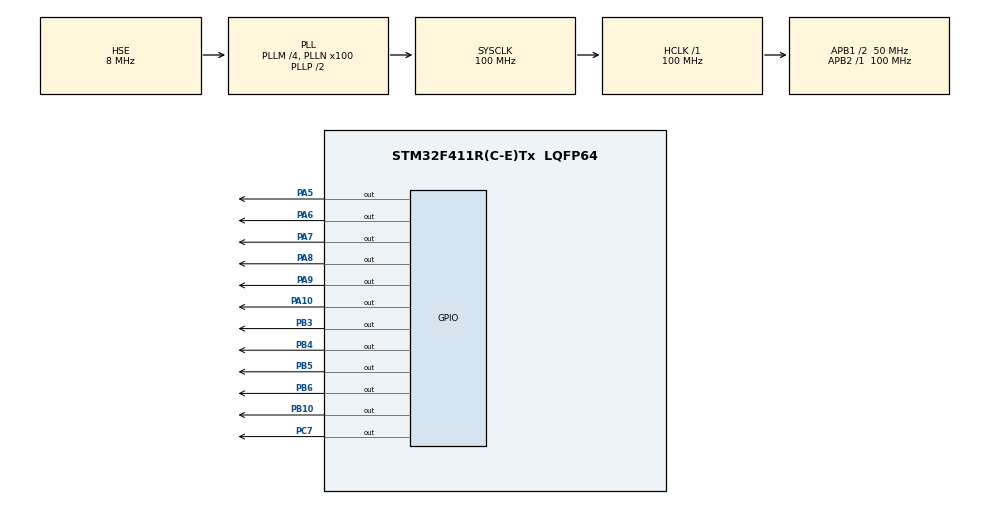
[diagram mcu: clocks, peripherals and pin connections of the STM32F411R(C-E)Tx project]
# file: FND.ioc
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Mcu.Family=STM32F4
Mcu.Name=STM32F411R(C-E)Tx
Mcu.Package=LQFP64
NVIC.PriorityGroup=NVIC_PRIORITYGROUP_4
PA10.Signal=GPIO_Output
PA5.Signal=GPIO_Output
PA6.Signal=GPIO_Output
PA7.Signal=GPIO_Output
PA8.Signal=GPIO_Output
PA9.Signal=GPIO_Output
PB10.Signal=GPIO_Output
PB3.Signal=GPIO_Output
PB4.Signal=GPIO_Output
PB5.Signal=GPIO_Output
PB6.Signal=GPIO_Output
PC7.Signal=GPIO_Output
PH0\ -\ OSC_IN.Mode=HSE-External-Oscillator
PH0\ -\ OSC_IN.Signal=RCC_OSC_IN
PH1\ -\ OSC_OUT.Mode=HSE-External-Oscillator
PH1\ -\ OSC_OUT.Signal=RCC_OSC_OUT
ProjectManager.HeapSize=0x200
ProjectManager.StackSize=0x400
ProjectManager.TargetToolchain=STM32CubeIDE
RCC.48MHZClocksFreq_Value=50000000
RCC.AHBFreq_Value=100000000
RCC.APB1CLKDivider=RCC_HCLK_DIV2
RCC.APB1Freq_Value=50000000
RCC.APB1TimFreq_Value=100000000
RCC.APB2Freq_Value=100000000
RCC.APB2TimFreq_Value=100000000
RCC.CortexFreq_Value=100000000
RCC.HCLKFreq_Value=100000000
RCC.HSE_VALUE=8000000
RCC.HSI_VALUE=16000000
RCC.LSE_VALUE=32768
RCC.PLLM=4
RCC.PLLN=100
RCC.PLLSourceVirtual=RCC_PLLSOURCE_HSE
RCC.SYSCLKFreq_VALUE=100000000
RCC.SYSCLKSource=RCC_SYSCLKSOURCE_PLLCLK
RCC.VCOOutputFreq_Value=200000000
board=custom

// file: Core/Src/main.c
/* USER CODE BEGIN Header */
/**
 ******************************************************************************
 * @file           : main.c
 * @brief          : Main program body
 ******************************************************************************
 * @attention
 *
 * Copyright (c) 2026 STMicroelectronics.
 * All rights reserved.
 *
 * This software is licensed under terms that can be found in the LICENSE file
 * in the root directory of this software component.
 * If no LICENSE file comes with this software, it is provided AS-IS.
 *
 ******************************************************************************
 */
/* USER CODE END Header */
#include "main.h"

/* USER CODE BEGIN PD */

#define A_GPIO	GPIOA
#define A_PIN	GPIO_PIN_6
#define B_GPIO	GPIOA
#define B_PIN	GPIO_PIN_9
#define C_GPIO	GPIOB
#define C_PIN	GPIO_PIN_5
#define D_GPIO	GPIOB
#define D_PIN	GPIO_PIN_10
#define E_GPIO	GPIOA
#define E_PIN	GPIO_PIN_8
#define F_GPIO	GPIOA
#define F_PIN	GPIO_PIN_7
#define G_GPIO	GPIOB
#define G_PIN	GPIO_PIN_3
#define DP_GPIO	GPIOB
#define DP_PIN	GPIO_PIN_4

#define D1_GPIO	GPIOA
#define D1_PIN	GPIO_PIN_5
#define D2_GPIO	GPIOB
#define D2_PIN	GPIO_PIN_6
#define D3_GPIO	GPIOC
#define D3_PIN	GPIO_PIN_7
#define D4_GPIO	GPIOA
#define D4_PIN	GPIO_PIN_10

/* USER CODE END PD */

void SystemClock_Config(void);
static void MX_GPIO_Init(void);

/* USER CODE BEGIN 0 */

void on_0() {
	HAL_GPIO_WritePin(A_GPIO, A_PIN, GPIO_PIN_SET); // A
	HAL_GPIO_WritePin(B_GPIO, B_PIN, GPIO_PIN_SET); // B
	HAL_GPIO_WritePin(C_GPIO, C_PIN, GPIO_PIN_SET); // C
	HAL_GPIO_WritePin(D_GPIO, D_PIN, GPIO_PIN_SET); // D
	HAL_GPIO_WritePin(E_GPIO, E_PIN, GPIO_PIN_SET); // E
	HAL_GPIO_WritePin(F_GPIO, F_PIN, GPIO_PIN_SET); // F
	HAL_GPIO_WritePin(G_GPIO, G_PIN, GPIO_PIN_RESET); // G
	HAL_GPIO_WritePin(DP_GPIO, DP_PIN, GPIO_PIN_RESET); // DP
}

void on_1() {
	HAL_GPIO_WritePin(A_GPIO, A_PIN, GPIO_PIN_RESET); // A
	HAL_GPIO_WritePin(B_GPIO, B_PIN, GPIO_PIN_SET); // B
	HAL_GPIO_WritePin(C_GPIO, C_PIN, GPIO_PIN_SET); // C
	HAL_GPIO_WritePin(D_GPIO, D_PIN, GPIO_PIN_RESET); // D
	HAL_GPIO_WritePin(E_GPIO, E_PIN, GPIO_PIN_RESET); // E
	HAL_GPIO_WritePin(F_GPIO, F_PIN, GPIO_PIN_RESET); // F
	HAL_GPIO_WritePin(G_GPIO, G_PIN, GPIO_PIN_RESET); // G
	HAL_GPIO_WritePin(DP_GPIO, DP_PIN, GPIO_PIN_RESET); // DP
}

void on_2() {
	HAL_GPIO_WritePin(A_GPIO, A_PIN, GPIO_PIN_SET); // A
	HAL_GPIO_WritePin(B_GPIO, B_PIN, GPIO_PIN_SET); // B
	HAL_GPIO_WritePin(C_GPIO, C_PIN, GPIO_PIN_RESET); // C
	HAL_GPIO_WritePin(D_GPIO, D_PIN, GPIO_PIN_SET); // D
	HAL_GPIO_WritePin(E_GPIO, E_PIN, GPIO_PIN_SET); // E
	HAL_GPIO_WritePin(F_GPIO, F_PIN, GPIO_PIN_RESET); // F
	HAL_GPIO_WritePin(G_GPIO, G_PIN, GPIO_PIN_SET); // G
	HAL_GPIO_WritePin(DP_GPIO, DP_PIN, GPIO_PIN_RESET); // DP
}

void on_3() {
	HAL_GPIO_WritePin(A_GPIO, A_PIN, GPIO_PIN_SET); // A
	HAL_GPIO_WritePin(B_GPIO, B_PIN, GPIO_PIN_SET); // B
	HAL_GPIO_WritePin(C_GPIO, C_PIN, GPIO_PIN_SET); // C
	HAL_GPIO_WritePin(D_GPIO, D_PIN, GPIO_PIN_SET); // D
	HAL_GPIO_WritePin(E_GPIO, E_PIN, GPIO_PIN_RESET); // E
	HAL_GPIO_WritePin(F_GPIO, F_PIN, GPIO_PIN_RESET); // F
	HAL_GPIO_WritePin(G_GPIO, G_PIN, GPIO_PIN_SET); // G
	HAL_GPIO_WritePin(DP_GPIO, DP_PIN, GPIO_PIN_RESET); // DP
}

void on_4() {
	HAL_GPIO_WritePin(A_GPIO, A_PIN, GPIO_PIN_RESET); // A
	HAL_GPIO_WritePin(B_GPIO, B_PIN, GPIO_PIN_SET); // B
	HAL_GPIO_WritePin(C_GPIO, C_PIN, GPIO_PIN_SET); // C
	HAL_GPIO_WritePin(D_GPIO, D_PIN, GPIO_PIN_RESET); // D
	HAL_GPIO_WritePin(E_GPIO, E_PIN, GPIO_PIN_RESET); // E
	HAL_GPIO_WritePin(F_GPIO, F_PIN, GPIO_PIN_SET); // F
	HAL_GPIO_WritePin(G_GPIO, G_PIN, GPIO_PIN_SET); // G
	HAL_GPIO_WritePin(DP_GPIO, DP_PIN, GPIO_PIN_RESET); // DP
}

void on_5() {
	HAL_GPIO_WritePin(A_GPIO, A_PIN, GPIO_PIN_SET); // A
	HAL_GPIO_WritePin(B_GPIO, B_PIN, GPIO_PIN_RESET); // B
	HAL_GPIO_WritePin(C_GPIO, C_PIN, GPIO_PIN_SET); // C
	HAL_GPIO_WritePin(D_GPIO, D_PIN, GPIO_PIN_SET); // D
	HAL_GPIO_WritePin(E_GPIO, E_PIN, GPIO_PIN_RESET); // E
	HAL_GPIO_WritePin(F_GPIO, F_PIN, GPIO_PIN_SET); // F
	HAL_GPIO_WritePin(G_GPIO, G_PIN, GPIO_PIN_SET); // G
	HAL_GPIO_WritePin(DP_GPIO, DP_PIN, GPIO_PIN_RESET); // DP
}

void on_6() {
	HAL_GPIO_WritePin(A_GPIO, A_PIN, GPIO_PIN_SET); // A
	HAL_GPIO_WritePin(B_GPIO, B_PIN, GPIO_PIN_RESET); // B
	HAL_GPIO_WritePin(C_GPIO, C_PIN, GPIO_PIN_SET); // C
	HAL_GPIO_WritePin(D_GPIO, D_PIN, GPIO_PIN_SET); // D
	HAL_GPIO_WritePin(E_GPIO, E_PIN, GPIO_PIN_SET); // E
	HAL_GPIO_WritePin(F_GPIO, F_PIN, GPIO_PIN_SET); // F
	HAL_GPIO_WritePin(G_GPIO, G_PIN, GPIO_PIN_SET); // G
	HAL_GPIO_WritePin(DP_GPIO, DP_PIN, GPIO_PIN_RESET); // DP
}

void on_7() {
	HAL_GPIO_WritePin(A_GPIO, A_PIN, GPIO_PIN_SET); // A
	HAL_GPIO_WritePin(B_GPIO, B_PIN, GPIO_PIN_SET); // B
	HAL_GPIO_WritePin(C_GPIO, C_PIN, GPIO_PIN_SET); // C
	HAL_GPIO_WritePin(D_GPIO, D_PIN, GPIO_PIN_RESET); // D
	HAL_GPIO_WritePin(E_GPIO, E_PIN, GPIO_PIN_RESET); // E
	HAL_GPIO_WritePin(F_GPIO, F_PIN, GPIO_PIN_RESET); // F
	HAL_GPIO_WritePin(G_GPIO, G_PIN, GPIO_PIN_RESET); // G
	HAL_GPIO_WritePin(DP_GPIO, DP_PIN, GPIO_PIN_RESET); // DP
}

void on_8() {
	HAL_GPIO_WritePin(A_GPIO, A_PIN, GPIO_PIN_SET); // A
	HAL_GPIO_WritePin(B_GPIO, B_PIN, GPIO_PIN_SET); // B
	HAL_GPIO_WritePin(C_GPIO, C_PIN, GPIO_PIN_SET); // C
	HAL_GPIO_WritePin(D_GPIO, D_PIN, GPIO_PIN_SET); // D
	HAL_GPIO_WritePin(E_GPIO, E_PIN, GPIO_PIN_SET); // E
	HAL_GPIO_WritePin(F_GPIO, F_PIN, GPIO_PIN_SET); // F
	HAL_GPIO_WritePin(G_GPIO, G_PIN, GPIO_PIN_SET); // G
	HAL_GPIO_WritePin(DP_GPIO, DP_PIN, GPIO_PIN_RESET); // DP
}

void on_9() {
	HAL_GPIO_WritePin(A_GPIO, A_PIN, GPIO_PIN_SET); // A
	HAL_GPIO_WritePin(B_GPIO, B_PIN, GPIO_PIN_SET); // B
	HAL_GPIO_WritePin(C_GPIO, C_PIN, GPIO_PIN_SET); // C
	HAL_GPIO_WritePin(D_GPIO, D_PIN, GPIO_PIN_SET); // D
	HAL_GPIO_WritePin(E_GPIO, E_PIN, GPIO_PIN_RESET); // E
	HAL_GPIO_WritePin(F_GPIO, F_PIN, GPIO_PIN_SET); // F
	HAL_GPIO_WritePin(G_GPIO, G_PIN, GPIO_PIN_SET); // G
	HAL_GPIO_WritePin(DP_GPIO, DP_PIN, GPIO_PIN_RESET); // DP
}

void turn_on(int place, int num) {
	switch (num) {
	case 0:
		on_0();
		break;
	case 1:
		on_1();
		break;
	case 2:
		on_2();
		break;
	case 3:
		on_3();
		break;
	case 4:
		on_4();
		break;
	case 5:
		on_5();
		break;
	case 6:
		on_6();
		break;
	case 7:
		on_7();
		break;
	case 8:
		on_8();
		break;
	case 9:
		on_9();
		break;
	}

	HAL_GPIO_WritePin(D1_GPIO, D1_PIN, GPIO_PIN_SET); // D1
	HAL_GPIO_WritePin(D2_GPIO, D2_PIN, GPIO_PIN_SET); // D2
	HAL_GPIO_WritePin(D3_GPIO, D3_PIN, GPIO_PIN_SET); // D3
	HAL_GPIO_WritePin(D4_GPIO, D4_PIN, GPIO_PIN_SET); // D4

	switch (place) {
	case 1:
		HAL_GPIO_WritePin(D1_GPIO, D1_PIN, GPIO_PIN_RESET); // D1
		break;
	case 2:
		HAL_GPIO_WritePin(D2_GPIO, D2_PIN, GPIO_PIN_RESET); // D2
		break;
	case 3:
		HAL_GPIO_WritePin(D3_GPIO, D3_PIN, GPIO_PIN_RESET); // D3
		break;
	case 4:
		HAL_GPIO_WritePin(D4_GPIO, D4_PIN, GPIO_PIN_RESET); // D4
		break;
	}

	HAL_Delay(1);
}
/* USER CODE END 0 */

int main(void) {

	/* MCU Configuration--------------------------------------------------------*/

	/* Reset of all peripherals, Initializes the Flash interface and the Systick. */
	HAL_Init();

	/* Configure the system clock */
	SystemClock_Config();

	/* Initialize all configured peripherals */
	MX_GPIO_Init();
	/* USER CODE BEGIN 2 */
	HAL_GPIO_WritePin(GPIOA, GPIO_PIN_5, GPIO_PIN_SET); // D1
	HAL_GPIO_WritePin(GPIOB, GPIO_PIN_6, GPIO_PIN_SET); // D2
	HAL_GPIO_WritePin(GPIOC, GPIO_PIN_7, GPIO_PIN_SET); // D3
	HAL_GPIO_WritePin(GPIOA, GPIO_PIN_10, GPIO_PIN_SET); // D4

	HAL_GPIO_WritePin(GPIOA, GPIO_PIN_6, GPIO_PIN_SET); // A
	HAL_GPIO_WritePin(GPIOA, GPIO_PIN_9, GPIO_PIN_SET); // B
	HAL_GPIO_WritePin(GPIOB, GPIO_PIN_5, GPIO_PIN_SET); // C
	HAL_GPIO_WritePin(GPIOB, GPIO_PIN_10, GPIO_PIN_SET); // D
	HAL_GPIO_WritePin(GPIOA, GPIO_PIN_8, GPIO_PIN_SET); // E
	HAL_GPIO_WritePin(GPIOA, GPIO_PIN_7, GPIO_PIN_SET); // F
	HAL_GPIO_WritePin(GPIOB, GPIO_PIN_3, GPIO_PIN_SET); // G
	HAL_GPIO_WritePin(GPIOB, GPIO_PIN_4, GPIO_PIN_SET); // DP
	/* USER CODE END 2 */

	/* Infinite loop */
	/* USER CODE BEGIN WHILE */
	int i = 0;
	int t = 0;

	while (1) {
		int i_1, i_10, i_100, i_1000;
		while (i < 10000) {
			i++;

			i_1 = i % 10;
			i_10 = (i / 10) % 10;
			i_100 = (i / 100) % 10;
			i_1000 = (i / 1000) % 10;

			t = 0;
			while (t < 100) {
				for (int j = 1; j < 5; j++) {
					t ++;
					switch (j) {
					case 1:
						turn_on(j, i_1000);
						break;
					case 2:
						turn_on(j, i_100);
						break;
					case 3:
						turn_on(j, i_10);
						break;
					case 4:
						turn_on(j, i_1);
						break;
					}
				}
			}
		}
		/* USER CODE END WHILE */

	}
}

void SystemClock_Config(void) {
	RCC_OscInitTypeDef RCC_OscInitStruct = { 0 };
	RCC_ClkInitTypeDef RCC_ClkInitStruct = { 0 };

	/** Configure the main internal regulator output voltage
	 */
	__HAL_RCC_PWR_CLK_ENABLE();
	__HAL_PWR_VOLTAGESCALING_CONFIG(PWR_REGULATOR_VOLTAGE_SCALE1);

	/** Initializes the RCC Oscillators according to the specified parameters
	 * in the RCC_OscInitTypeDef structure.
	 */
	RCC_OscInitStruct.OscillatorType = RCC_OSCILLATORTYPE_HSE;
	RCC_OscInitStruct.HSEState = RCC_HSE_ON;
	RCC_OscInitStruct.PLL.PLLState = RCC_PLL_ON;
	RCC_OscInitStruct.PLL.PLLSource = RCC_PLLSOURCE_HSE;
	RCC_OscInitStruct.PLL.PLLM = 4;
	RCC_OscInitStruct.PLL.PLLN = 100;
	RCC_OscInitStruct.PLL.PLLP = RCC_PLLP_DIV2;
	RCC_OscInitStruct.PLL.PLLQ = 4;
	if (HAL_RCC_OscConfig(&RCC_OscInitStruct) != HAL_OK) {
		Error_Handler();
	}

	/** Initializes the CPU, AHB and APB buses clocks
	 */
	RCC_ClkInitStruct.ClockType = RCC_CLOCKTYPE_HCLK | RCC_CLOCKTYPE_SYSCLK
			| RCC_CLOCKTYPE_PCLK1 | RCC_CLOCKTYPE_PCLK2;
	RCC_ClkInitStruct.SYSCLKSource = RCC_SYSCLKSOURCE_PLLCLK;
	RCC_ClkInitStruct.AHBCLKDivider = RCC_SYSCLK_DIV1;
	RCC_ClkInitStruct.APB1CLKDivider = RCC_HCLK_DIV2;
	RCC_ClkInitStruct.APB2CLKDivider = RCC_HCLK_DIV1;

	if (HAL_RCC_ClockConfig(&RCC_ClkInitStruct, FLASH_LATENCY_3) != HAL_OK) {
		Error_Handler();
	}
}

static void MX_GPIO_Init(void) {
	GPIO_InitTypeDef GPIO_InitStruct = { 0 };

	/* GPIO Ports Clock Enable */
	__HAL_RCC_GPIOH_CLK_ENABLE();
	__HAL_RCC_GPIOA_CLK_ENABLE();
	__HAL_RCC_GPIOB_CLK_ENABLE();
	__HAL_RCC_GPIOC_CLK_ENABLE();

	/*Configure GPIO pin Output Level */
	HAL_GPIO_WritePin(GPIOA,
			GPIO_PIN_5 | GPIO_PIN_6 | GPIO_PIN_7 | GPIO_PIN_8 | GPIO_PIN_9
					| GPIO_PIN_10, GPIO_PIN_RESET);

	/*Configure GPIO pin Output Level */
	HAL_GPIO_WritePin(GPIOB,
	GPIO_PIN_10 | GPIO_PIN_3 | GPIO_PIN_4 | GPIO_PIN_5 | GPIO_PIN_6,
			GPIO_PIN_RESET);

	/*Configure GPIO pin Output Level */
	HAL_GPIO_WritePin(GPIOC, GPIO_PIN_7, GPIO_PIN_RESET);

	/*Configure GPIO pins : PA5 PA6 PA7 PA8
	 PA9 PA10 */
	GPIO_InitStruct.Pin = GPIO_PIN_5 | GPIO_PIN_6 | GPIO_PIN_7 | GPIO_PIN_8
			| GPIO_PIN_9 | GPIO_PIN_10;
	GPIO_InitStruct.Mode = GPIO_MODE_OUTPUT_PP;
	GPIO_InitStruct.Pull = GPIO_NOPULL;
	GPIO_InitStruct.Speed = GPIO_SPEED_FREQ_LOW;
	HAL_GPIO_Init(GPIOA, &GPIO_InitStruct);

	/*Configure GPIO pins : PB10 PB3 PB4 PB5
	 PB6 */
	GPIO_InitStruct.Pin = GPIO_PIN_10 | GPIO_PIN_3 | GPIO_PIN_4 | GPIO_PIN_5
			| GPIO_PIN_6;
	GPIO_InitStruct.Mode = GPIO_MODE_OUTPUT_PP;
	GPIO_InitStruct.Pull = GPIO_NOPULL;
	GPIO_InitStruct.Speed = GPIO_SPEED_FREQ_LOW;
	HAL_GPIO_Init(GPIOB, &GPIO_InitStruct);

	/*Configure GPIO pin : PC7 */
	GPIO_InitStruct.Pin = GPIO_PIN_7;
	GPIO_InitStruct.Mode = GPIO_MODE_OUTPUT_PP;
	GPIO_InitStruct.Pull = GPIO_NOPULL;
	GPIO_InitStruct.Speed = GPIO_SPEED_FREQ_LOW;
	HAL_GPIO_Init(GPIOC, &GPIO_InitStruct);

}

void Error_Handler(void) {
	__disable_irq();
	while (1) {
	}
}
